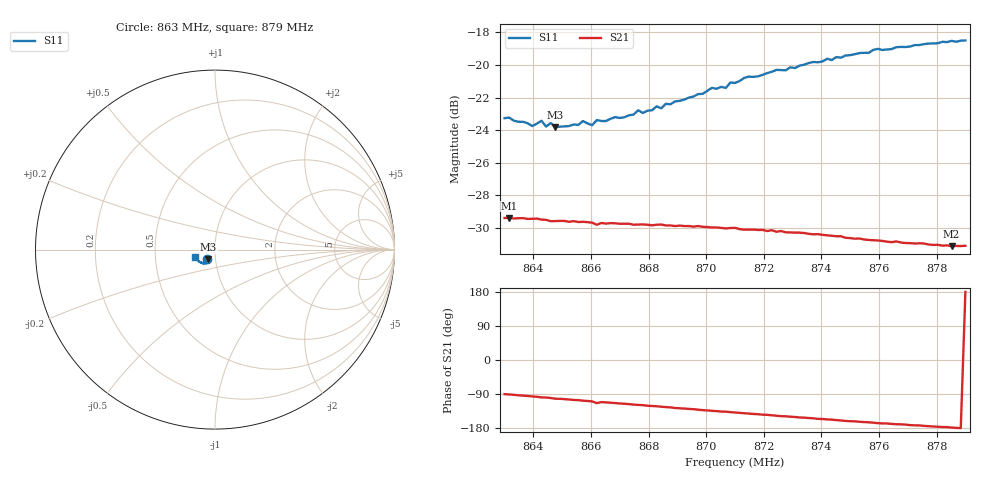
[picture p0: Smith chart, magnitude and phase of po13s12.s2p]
# HZ S RI R 50
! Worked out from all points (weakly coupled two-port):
!   101 points, 863 MHz to 879 MHz, reference 50 ohm
!   highest |S21| = -29.38 dB at 863.16 MHz (marker M1); lowest = -31.1 dB at 878.52 MHz (marker M2)
!   lowest |S11| = -23.8 dB at 864.76 MHz (marker M3), VSWR 1.14, Z = 46.2 - j4.94 ohm
!   |S11| at or under -10 dB: start of sweep to end of sweep
!   S12 and S22 are empty: the file has one direction only
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8.63e8  -0.0437 -0.053  -4.6e-05 -0.0339  0 0  0 0
8.6316e8  -0.0431 -0.0538  -0.000565 -0.034  0 0  0 0
8.6396e8  -0.0389 -0.052  -0.00358 -0.0335  0 0  0 0
8.6428e8  -0.0388 -0.0551  -0.00502 -0.0332  0 0  0 0
8.6444e8  -0.0374 -0.0528  -0.00528 -0.0331  0 0  0 0
8.646e8  -0.0378 -0.0545  -0.00588 -0.0326  0 0  0 0
8.6476e8  -0.0365 -0.0532  -0.00705 -0.0324  0 0  0 0
8.6556e8  -0.0351 -0.0552  -0.00906 -0.0317  0 0  0 0
8.6572e8  -0.0347 -0.0576  -0.00987 -0.0315  0 0  0 0
8.6604e8  -0.0333 -0.0562  -0.0108 -0.031  0 0  0 0
8.662e8  -0.0342 -0.0584  -0.013 -0.0296  0 0  0 0
8.6716e8  -0.0325 -0.061  -0.014 -0.0294  0 0  0 0
8.6828e8  -0.0352 -0.0658  -0.0172 -0.0274  0 0  0 0
8.6844e8  -0.035 -0.0648  -0.0178 -0.0271  0 0  0 0
8.702e8  -0.0425 -0.0737  -0.0221 -0.0228  0 0  0 0
8.7068e8  -0.0437 -0.0729  -0.0228 -0.0217  0 0  0 0
8.7084e8  -0.0474 -0.0744  -0.0233 -0.0213  0 0  0 0
8.71e8  -0.0468 -0.0746  -0.0237 -0.021  0 0  0 0
8.7372e8  -0.0677 -0.0764  -0.0271 -0.0133  0 0  0 0
8.7644e8  -0.0927 -0.0625  -0.028 -0.00564  0 0  0 0
8.7852e8  -0.1091 -0.0463  -0.0278 -0.000856  0 0  0 0
8.79e8  -0.1122 -0.0392  -0.0279 0.00018  0 0  0 0
